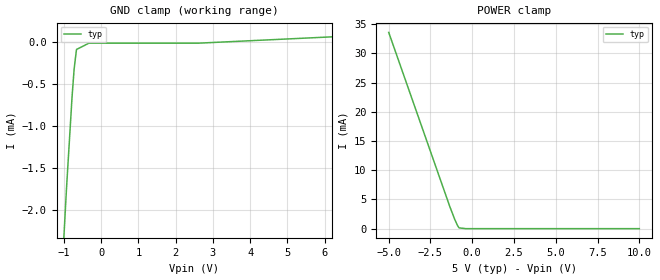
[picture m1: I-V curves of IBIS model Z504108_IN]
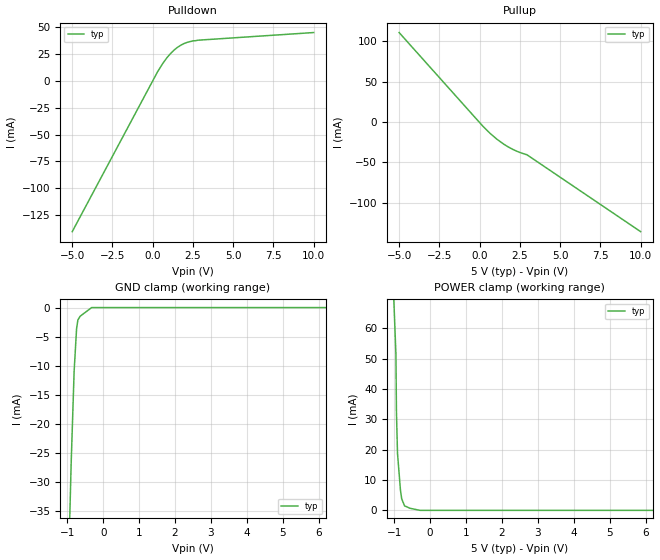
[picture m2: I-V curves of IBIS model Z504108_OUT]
| YOU ARE ONLY AUTHORIZED TO USE THIS SOFTWARE
| ACCORDING TO LICENSOR'S LICENSE RESTRICTIONS.
[IBIS Ver] 3.1
[File Name] mc54hc4538aj.ibs
[File Rev] 2.0
[Source] Measured and created by ICX Technology
[Date] Friday 7/14/00 9:08:07 AM
[Copyright]
| (C) COPYRIGHT 1993-2000
| MENTOR GRAPHICS CORPORATION
| ICX STANDARD LIBRARY, ICX PROJECT MODELING,
| ICX CUSTOM MODELING, ICX VENDOR MODEL
| ALL RIGHTS RESERVED.
| THE FOLLOWING ARE TRADEMARKS OR SERVICE MARKS OF
| MENTOR GRAPHICS CORPORATION:ICX (R), ICX STANDARD
| LIBRARY(R), ICX PROJECT MODELING(R), ICX CUSTOM
| MODELING(R), qualityIBIS(TM), MODELVIEWER(TM),
| AND MODELEDITOR(TM)
| ALL COPIES OF SOFTWARE, INCLUDING BUT NOT LIMITED TO
| ANY MODIFICATIONS, ENHANCEMENTS OR DERIVATIVE WORKS,
| MUST CONTAIN ALL MENTOR GRAPHICS CORPORATION'S
| NOTICES AND LEGENDS, INCLUDING THOSE EMBEDDED IN
| SOFTWARE AND THOSE AFFIXED TO SOFTWARE MEDIUM
| AND CONTAINER, AS RECEIVED FROM MENTOR GRAPHICS
| CORPORATION.
|  ZAP Model Builder 2.7
[Component] MC54HC4538AJ
[Manufacturer] OnSemiconductor
[Package]
| variable   typ   min   max
R_pkg  .212ohms NA NA
L_pkg  4.758nH NA NA
C_pkg  1.944pF NA NA
[Pin] signal_name  model_name  R_pin  L_pin C_pin
1 CX1 NC .224 7.258n 2.683p
2 RX NC .216 5.258n 2.19p
3 _R1 Z504108_IN .208 3.758n 1.697p
4 A1 Z504108_IN .2 2.758n 1.204p
5 B1 Z504108_IN .2 2.758n 1.204p
6 Q Z504108_OUT .208 3.758n 1.697p
7 _Q Z504108_OUT .216 5.258n 2.19p
8 GND GND .224 7.258n 2.683p
9 _Q Z504108_OUT .224 7.258n 2.683p
10 Q Z504108_OUT .216 5.258n 2.19p
11 _B2 Z504108_IN .208 3.758n 1.697p
12 A2 Z504108_IN .2 2.758n 1.204p
13 _R2 Z504108_IN .2 2.758n 1.204p
14 CX2 NC .208 3.758n 1.697p
15 RX NC .216 5.258n 2.19p
16 VCC POWER .224 7.258n 2.683p
| Models and submodels in the file (2): Z504108_IN (Input), Z504108_OUT (Output)
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| (C) COPYRIGHT 1993-2000
| MENTOR GRAPHICS CORPORATION
| ICX STANDARD LIBRARY, ICX PROJECT MODELING,
| ICX CUSTOM MODELING, ICX VENDOR MODEL
| ALL RIGHTS RESERVED.
| THE FOLLOWING ARE TRADEMARKS OR SERVICE MARKS OF
| MENTOR GRAPHICS CORPORATION:ICX (R), ICX STANDARD
| LIBRARY(R), ICX PROJECT MODELING(R), ICX CUSTOM
| MODELING(R), qualityIBIS(TM), MODELVIEWER(TM),
| AND MODELEDITOR(TM)
| ALL COPIES OF SOFTWARE, INCLUDING BUT NOT LIMITED TO
| ANY MODIFICATIONS, ENHANCEMENTS OR DERIVATIVE WORKS,
| MUST CONTAIN ALL MENTOR GRAPHICS CORPORATION'S
| NOTICES AND LEGENDS, INCLUDING THOSE EMBEDDED IN
| SOFTWARE AND THOSE AFFIXED TO SOFTWARE MEDIUM
| AND CONTAINER, AS RECEIVED FROM MENTOR GRAPHICS
| CORPORATION.
| Model Application Version 1.89 2/18/99.
[Model] Z504108_IN
Model_type Input
Vinl = 1.000V
Vinh = 3.500V
C_comp 4.000pF NA NA
| variable typ   min   max
[Voltage Range] 5.000V NA NA
[GND Clamp Reference] 0.000V NA NA
[POWER Clamp Reference] 5.000V NA NA
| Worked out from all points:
|   GND clamp passes 1 mA (typ) near -0.83 V on its own axis
|   POWER clamp passes 1 mA (typ) near -0.96 V on its own axis
[GND Clamp]
-5V       -37.03mA   NA         NA
-1.318V   -4.924mA   NA         NA
-930.6mV  -1.733mA   NA         NA
-781.3mV  -640.2uA   NA         NA
-727.1mV  -318.6uA   NA         NA
-664.1mV  -86.33uA   NA         NA
-332mV    -11.38uA   NA         NA
2.599V    -11.38uA   NA         NA
10V       144.6uA    NA         NA
[POWER Clamp]
-5V       33.61mA    NA         NA
-1.348V   3.824mA    NA         NA
-1.053V   1.62mA     NA         NA
-883mV    544.1uA    NA         NA
-790mV    138.1uA    NA         NA
-395mV    0A         NA         NA
10V       0A         NA         NA
| (C) COPYRIGHT 1993-2000
| MENTOR GRAPHICS CORPORATION
| ICX STANDARD LIBRARY, ICX PROJECT MODELING,
| ICX CUSTOM MODELING, ICX VENDOR MODEL
| ALL RIGHTS RESERVED.
| THE FOLLOWING ARE TRADEMARKS OR SERVICE MARKS OF
| MENTOR GRAPHICS CORPORATION:ICX (R), ICX STANDARD
| LIBRARY(R), ICX PROJECT MODELING(R), ICX CUSTOM
| MODELING(R), qualityIBIS(TM), MODELVIEWER(TM),
| AND MODELEDITOR(TM)
| ALL COPIES OF SOFTWARE, INCLUDING BUT NOT LIMITED TO
| ANY MODIFICATIONS, ENHANCEMENTS OR DERIVATIVE WORKS,
| MUST CONTAIN ALL MENTOR GRAPHICS CORPORATION'S
| NOTICES AND LEGENDS, INCLUDING THOSE EMBEDDED IN
| SOFTWARE AND THOSE AFFIXED TO SOFTWARE MEDIUM
| AND CONTAINER, AS RECEIVED FROM MENTOR GRAPHICS
| CORPORATION.
| Model Application Version 1.89 2/18/99.
[Model] Z504108_OUT
Model_type Output
Vref=0.000V
Rref=500.0Mohms
Cref=50.00pF
Vmeas=2.500V
C_comp 8.000pF NA NA
| variable typ   min   max
[Voltage Range] 5.000V NA NA
[POWER Clamp Reference] 5.000V NA NA
[Pullup Reference] 5.000V NA NA
[Pulldown Reference] 0.000V NA NA
[GND Clamp Reference] 0.000V NA NA
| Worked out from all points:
|   slope of the pulldown table from 0 to 0.75 V, typ, clamps not added: 39.8 ohm
|   slope of the pullup table from 0 to 0.75 V, typ, clamps not added: 49.9 ohm
|   POWER clamp passes 1 mA (typ) near -0.62 V on its own axis
[GND Clamp]
-5V       -1.002A    NA         NA
-893.3mV  -26.8mA    NA         NA
-810.5mV  -10.93mA   NA         NA
-742.2mV  -3.601mA   NA         NA
-705.5mV  -2.131mA   NA         NA
-644.5mV  -1.493mA   NA         NA
-322.3mV  0A         NA         NA
10V       0A         NA         NA
[Pulldown]
-5V       -140.4mA   NA         NA
298mV     8.324mA    NA         NA
919.1mV   22.17mA    NA         NA
1.333V    28.67mA    NA         NA
1.943V    34.68mA    NA         NA
2.798V    37.76mA    NA         NA
10V       44.91mA    NA         NA
[Pullup]
-5V       110.7mA    NA         NA
200mV     -5.08mA    NA         NA
1.079V    -21.25mA   NA         NA
2.042V    -33.6mA    NA         NA
2.93V     -40.3mA    NA         NA
10V       -135.5mA   NA         NA
[POWER Clamp]
-5V       1.291A     NA         NA
-952mV    51.43mA    NA         NA
-938mV    32.48mA    NA         NA
-908mV    18.76mA    NA         NA
-825mV    6.562mA    NA         NA
-791mV    3.799mA    NA         NA
-712mV    1.497mA    NA         NA
-561mV    688.8uA    NA         NA
-280.5mV  0A         NA         NA
10V       0A         NA         NA
[Ramp]
| variable typ min max
dV/dt_r 2.754/922.2p NA NA
dV/dt_f 2.754/847.0p NA NA
R_load = 500.0Ohms
